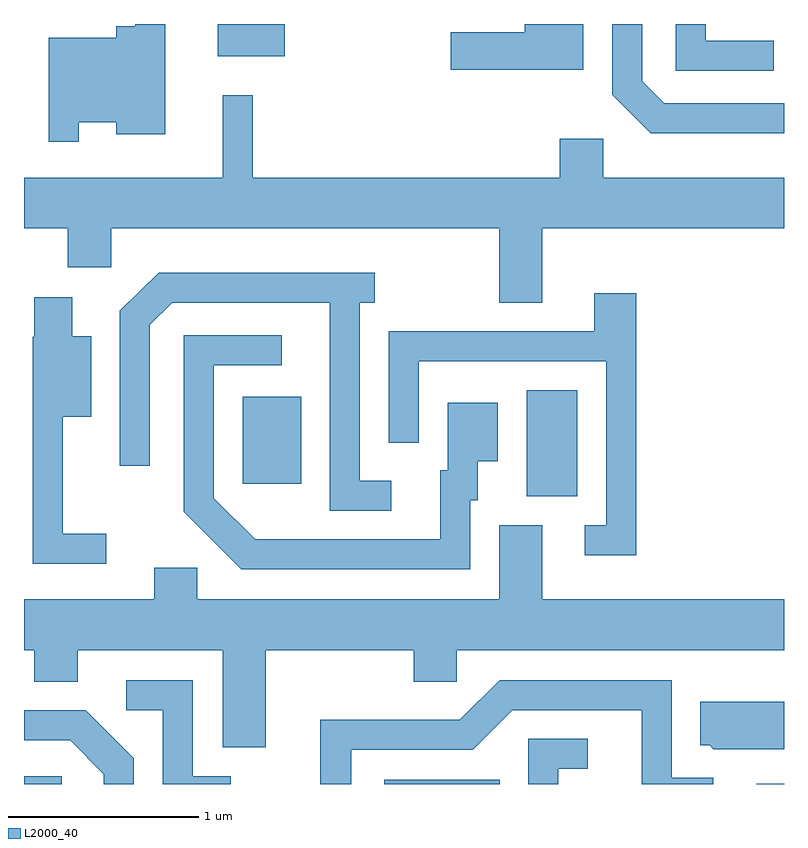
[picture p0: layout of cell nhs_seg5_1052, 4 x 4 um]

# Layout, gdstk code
import gdstk
lib = gdstk.Library(unit=1e-6, precision=1e-09)
def R(c, l, rs):  # rectangles x0, y0, x1, y1
    for r in rs: c.add(gdstk.rectangle(r[:2], r[2:], *l))
def P(c, l, *ps):  # polygons
    for p in ps: c.add(gdstk.Polygon(p, *l))
L2000_40 = (2000, 40)

nhs_seg5_1052 = lib.new_cell('nhs_seg5_1052')
R(nhs_seg5_1052, L2000_40, [(215.611,1476.072,215.809,1476.114), (217.506,1476.072,218.114,1476.094), (219.466,1476.072,219.611,1476.073), (218.256,1477.586,218.524,1478.144), (216.761,1477.651,217.069,1478.109), (216.631,1479.901,216.984,1480.072)])
P(nhs_seg5_1052, L2000_40, [(218.554,1480.072),(218.246,1480.072),(218.246,1480.029),(217.856,1480.029),(217.856,1479.831),(218.554,1479.831)],
  [(219.558,1479.984),(219.199,1479.984),(219.199,1480.072),(219.041,1480.072),(219.041,1479.826),(219.558,1479.826)],
  [(219.611,1479.654),(218.982,1479.654),(218.864,1479.772),(218.864,1480.072),(218.706,1480.072),(218.706,1479.699),(218.909,1479.496),(219.611,1479.496)],
  [(215.899,1479.556),(216.096,1479.556),(216.096,1479.491),(216.354,1479.491),(216.354,1480.072),(216.196,1480.072),(216.196,1480.059),(216.096,1480.059),(216.096,1479.999),(215.741,1479.999),(215.741,1479.453),(215.899,1479.453)],
  [(218.339,1478.996),(219.611,1478.996),(219.611,1479.264),(218.659,1479.264),(218.659,1479.469),(218.431,1479.469),(218.431,1479.264),(216.814,1479.264),(216.814,1479.698),(216.656,1479.698),(216.656,1479.264),(215.611,1479.264),(215.611,1478.996),(215.841,1478.996),(215.841,1478.791),(216.069,1478.791),(216.069,1478.996),(218.111,1478.996),(218.111,1478.606),(218.339,1478.606)],
  [(217.543,1477.669),(217.379,1477.669),(217.379,1478.606),(217.458,1478.606),(217.458,1478.764),(216.319,1478.764),(216.116,1478.562),(216.116,1477.748),(216.274,1477.748),(216.274,1478.489),(216.392,1478.606),(217.221,1478.606),(217.221,1477.511),(217.543,1477.511)],
  [(218.834,1478.654),(218.611,1478.654),(218.611,1478.454),(217.531,1478.454),(217.531,1477.868),(217.689,1477.868),(217.689,1478.296),(218.676,1478.296),(218.676,1477.434),(218.563,1477.434),(218.563,1477.276),(218.834,1477.276)],
  [(216.043,1477.389),(215.814,1477.389),(215.814,1478.006),(215.964,1478.006),(215.964,1478.429),(215.864,1478.429),(215.864,1478.634),(215.666,1478.634),(215.666,1478.425),(215.656,1478.425),(215.656,1477.231),(216.043,1477.231)],
  [(217.959,1477.566),(217.999,1477.566),(217.999,1477.771),(218.104,1477.771),(218.104,1478.079),(217.841,1478.079),(217.841,1477.724),(217.801,1477.724),(217.801,1477.359),(216.827,1477.359),(216.609,1477.577),(216.609,1478.276),(216.968,1478.276),(216.968,1478.434),(216.451,1478.434),(216.451,1477.504),(216.754,1477.201),(217.959,1477.201)],
  [(216.884,1476.776),(217.661,1476.776),(217.661,1476.611),(217.889,1476.611),(217.889,1476.776),(219.611,1476.776),(219.611,1477.044),(218.339,1477.044),(218.339,1477.434),(218.111,1477.434),(218.111,1477.044),(216.524,1477.044),(216.524,1477.209),(216.296,1477.209),(216.296,1477.044),(215.611,1477.044),(215.611,1476.776),(215.666,1476.776),(215.666,1476.611),(215.894,1476.611),(215.894,1476.776),(216.656,1476.776),(216.656,1476.266),(216.884,1476.266)],
  [(217.334,1476.251),(217.972,1476.251),(218.182,1476.461),(218.861,1476.461),(218.861,1476.072),(219.239,1476.072),(219.239,1476.104),(219.019,1476.104),(219.019,1476.619),(218.114,1476.619),(217.904,1476.409),(217.171,1476.409),(217.171,1476.072),(217.334,1476.072)],
  [(216.699,1476.114),(216.499,1476.114),(216.499,1476.619),(216.148,1476.619),(216.148,1476.461),(216.341,1476.461),(216.341,1476.072),(216.699,1476.072)],
  [(219.611,1476.504),(219.171,1476.504),(219.171,1476.276),(219.219,1476.276),(219.239,1476.256),(219.611,1476.256)],
  [(216.189,1476.207),(215.937,1476.459),(215.611,1476.459),(215.611,1476.301),(215.854,1476.301),(216.031,1476.124),(216.031,1476.072),(216.189,1476.072)],
  [(218.424,1476.151),(218.578,1476.151),(218.578,1476.309),(218.266,1476.309),(218.266,1476.072),(218.424,1476.072)])

lib.write_gds('nhs_seg5_1052.gds')
